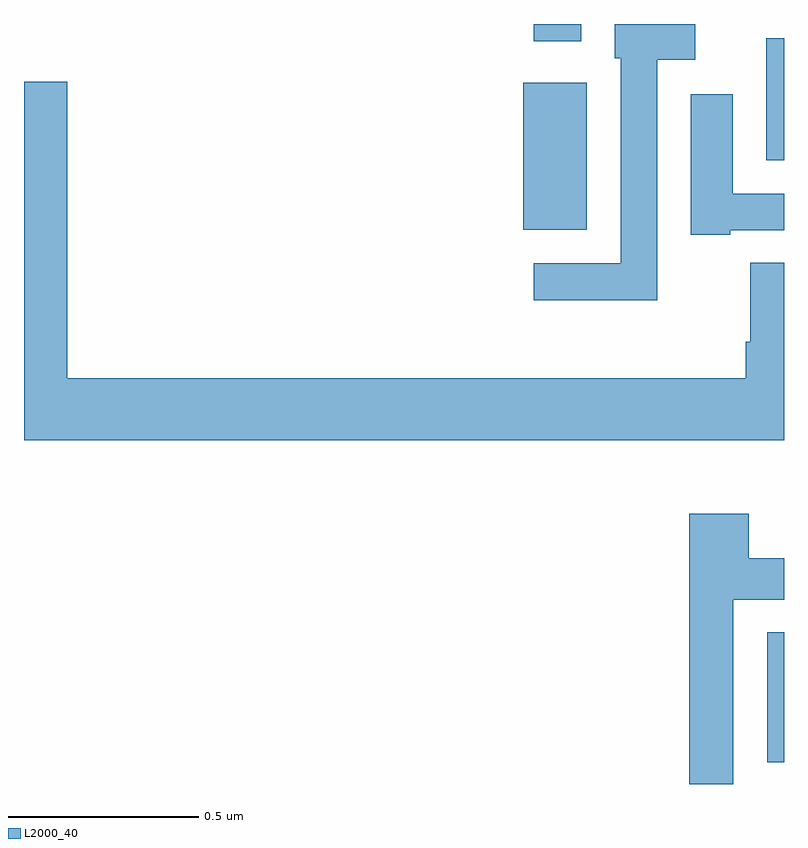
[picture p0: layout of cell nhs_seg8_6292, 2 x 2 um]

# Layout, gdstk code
import gdstk
lib = gdstk.Library(unit=1e-6, precision=1e-09)
def R(c, l, rs):  # rectangles x0, y0, x1, y1
    for r in rs: c.add(gdstk.rectangle(r[:2], r[2:], *l))
def P(c, l, *ps):  # polygons
    for p in ps: c.add(gdstk.Polygon(p, *l))
L2000_40 = (2000, 40)

nhs_seg8_6292 = lib.new_cell('nhs_seg8_6292')
R(nhs_seg8_6292, L2000_40, [(195.956,1144.957,196,1145.3), (195.314,1146.359,195.481,1146.745), (195.953,1146.542,196,1146.862), (195.341,1146.855,195.466,1146.9)])
P(nhs_seg8_6292, L2000_40, [(195.666,1146.806),(195.766,1146.806),(195.766,1146.9),(195.554,1146.9),(195.554,1146.81),(195.57,1146.81),(195.57,1146.27),(195.342,1146.27),(195.342,1146.173),(195.666,1146.173)],
  [(196,1146.272),(195.911,1146.272),(195.911,1146.064),(195.899,1146.064),(195.899,1145.968),(194.114,1145.968),(194.114,1146.748),(194,1146.748),(194,1145.804),(196,1145.804)],
  [(195.859,1146.357),(196,1146.357),(196,1146.453),(195.865,1146.453),(195.865,1146.715),(195.755,1146.715),(195.755,1146.345),(195.859,1146.345)],
  [(195.867,1145.385),(196,1145.385),(196,1145.494),(195.907,1145.494),(195.907,1145.611),(195.751,1145.611),(195.751,1144.9),(195.867,1144.9)])

lib.write_gds('nhs_seg8_6292.gds')
